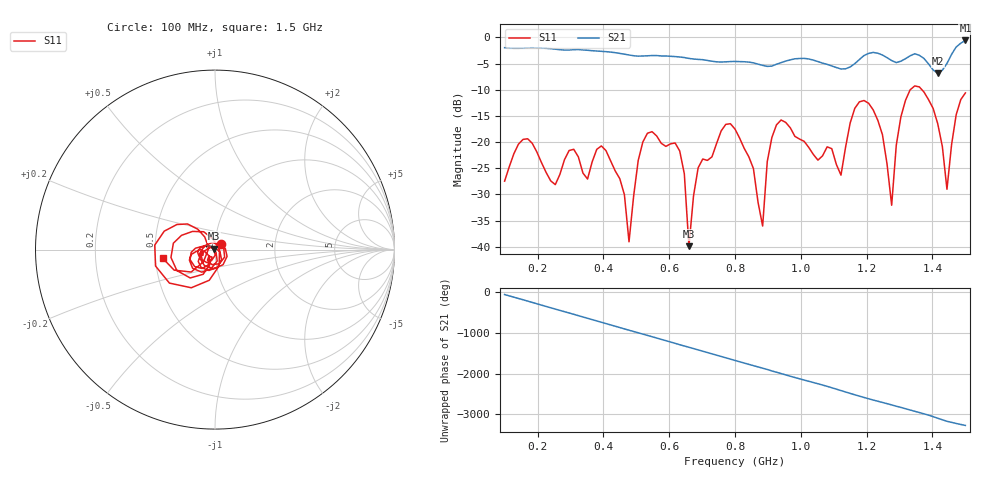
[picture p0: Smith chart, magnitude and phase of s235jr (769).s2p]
! NanoVNA-App
! Date: 2025-09-25 15:10:09
! Start: 100MHz Stop: 1,5GHz Points: 101
! S-Parameter data: F S11 S21 S12 S22
# Hz S RI R 50
!  Frequency  S11_Real  S11_Imag  S21_Real  S21_Imag  S12_Real  S12_Imag  S22_Real  S22_Imag
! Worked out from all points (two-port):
!   101 points, 100 MHz to 1.5 GHz, reference 50 ohm
!   highest |S21| = -0.59 dB at 1.5 GHz (marker M1); lowest = -6.9 dB at 1.416 GHz (marker M2)
!   |S21| within 3 dB of the highest: start of sweep to 598.3 MHz; 1.19 GHz to 1.254 GHz (64.16 MHz wide, 5.25 % of centre) (the widest 2 of 4)
!   lowest |S11| = -39.9 dB at 660 MHz (marker M3), VSWR 1.02, Z = 49.2 + j0.591 ohm
!   |S11| at or under -10 dB: start of sweep to 1.333 GHz; 1.368 GHz to end of sweep
!   S12 and S22 are empty: the file has one direction only
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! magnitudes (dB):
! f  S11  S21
! 100 MHz  -27.5  -2.0
! 170 MHz  -19.4  -2.0
! 338 MHz  -25.9  -2.4
! 408 MHz  -21.6  -2.7
! 478 MHz  -39.1  -3.4
! 520 MHz  -20.0  -3.6
! 576 MHz  -20.2  -3.5
! 632 MHz  -21.7  -3.7
! 660 MHz  -39.9  -4.0
! 688 MHz  -24.9  -4.2
! 800 MHz  -17.5  -4.6
! 884 MHz  -36.1  -5.3
! 926 MHz  -16.7  -5.1
! 1.038 GHz  -22.4  -4.3
! 1.122 GHz  -26.3  -6.0
! 1.206 GHz  -12.6  -3.1
! 1.276 GHz  -32.1  -4.4
! 1.29 GHz  -20.6  -4.8
! 1.332 GHz  -10.0  -3.5
! 1.416 GHz  -16.5  -6.9
! 1.444 GHz  -29.0  -5.0
! 1.5 GHz  -10.6  -0.6
